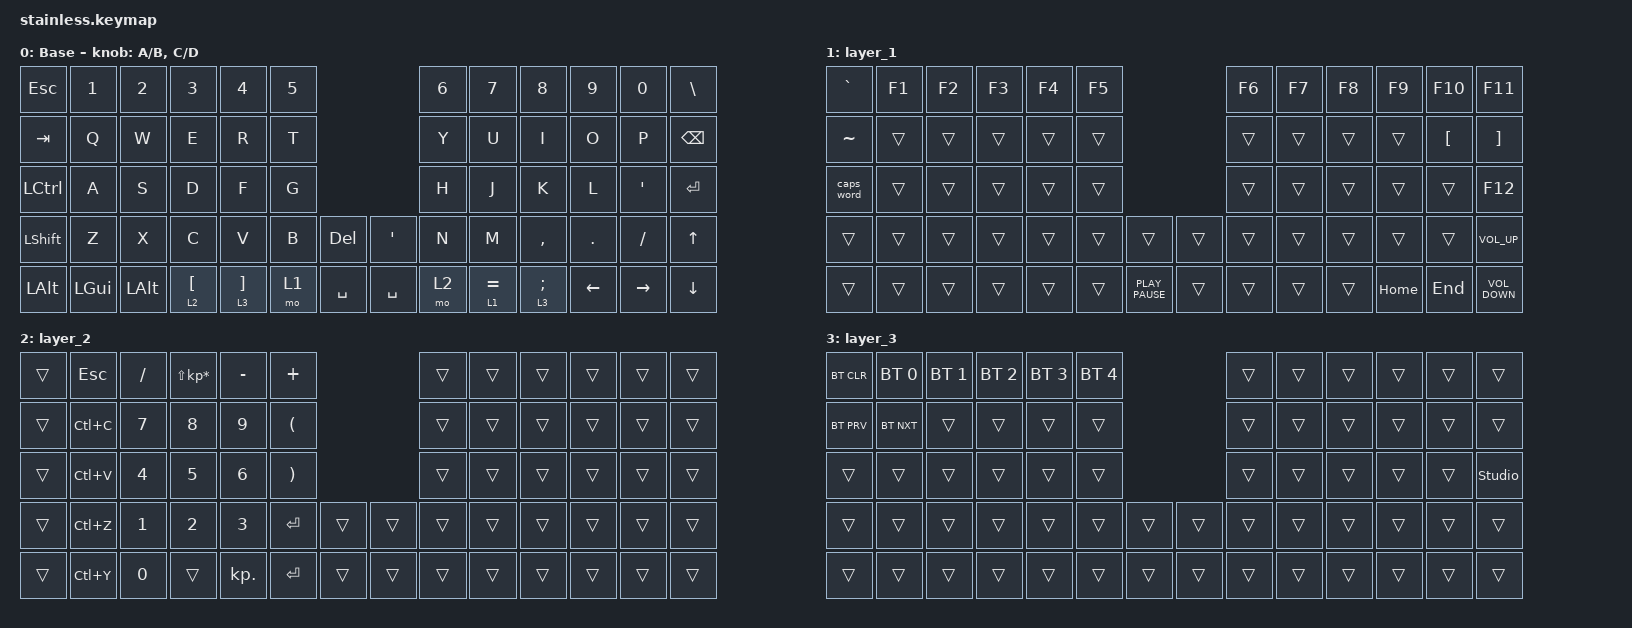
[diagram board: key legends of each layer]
#include <behaviors.dtsi>
#include <dt-bindings/zmk/bt.h>
#include <dt-bindings/zmk/keys.h>

/ {
    keymap {
        compatible = "zmk,keymap";

        default_layer {
            display-name = "Base";
            bindings = <
&kp ESC    &kp N1    &kp N2    &kp N3              &kp N4               &kp N5                                &kp N6  &kp N7       &kp N8           &kp N9    &kp N0     &kp BSLH
&kp TAB    &kp Q     &kp W     &kp E               &kp R                &kp T                                 &kp Y   &kp U        &kp I            &kp O     &kp P      &kp BSPC
&kp LCTRL  &kp A     &kp S     &kp D               &kp F                &kp G                                 &kp H   &kp J        &kp K            &kp L     &kp SQT    &kp RET
&kp LSHFT  &kp Z     &kp X     &kp C               &kp V                &kp B   &kp SPACE   &kp SINGLE_QUOTE  &kp N   &kp M        &kp COMMA        &kp DOT   &kp FSLH   &kp UP
&kp LALT   &kp LGUI  &kp LALT  &lt 2 LEFT_BRACKET  &lt 3 RIGHT_BRACKET  &mo 1   &kp DELETE  &kp SPACE         &mo 2   &lt 1 EQUAL  &lt 3 SEMICOLON  &kp LEFT  &kp RIGHT  &kp DOWN
            >;

            sensor-bindings = <&inc_dec_kp A B &inc_dec_kp C D>;
        };

        layer_1 {
            bindings = <
&kp GRAVE   &kp F1  &kp F2  &kp F3  &kp F4  &kp F5                            &kp F6  &kp F7  &kp F8  &kp F9    &kp F10           &kp F11
&kp TILDE   &trans  &trans  &trans  &trans  &trans                            &trans  &trans  &trans  &trans    &kp LEFT_BRACKET  &kp RIGHT_BRACKET
&caps_word  &trans  &trans  &trans  &trans  &trans                            &trans  &trans  &trans  &trans    &trans            &kp F12
&trans      &trans  &trans  &trans  &trans  &trans  &kp K_PLAY_PAUSE  &trans  &trans  &trans  &trans  &trans    &trans            &kp K_VOLUME_UP
&trans      &trans  &trans  &trans  &trans  &trans  &trans            &trans  &trans  &trans  &trans  &kp HOME  &kp END           &kp K_VOLUME_DOWN
            >;
        };

        layer_2 {
            bindings = <
&trans  &kp ESC    &kp FSLH  &kp LS(KP_MULTIPLY)  &kp MINUS   &kp PLUS                  &trans  &trans  &trans  &trans  &trans  &trans
&trans  &kp LC(C)  &kp N7    &kp N8               &kp N9      &kp LPAR                  &trans  &trans  &trans  &trans  &trans  &trans
&trans  &kp LC(V)  &kp N4    &kp N5               &kp N6      &kp RPAR                  &trans  &trans  &trans  &trans  &trans  &trans
&trans  &kp LC(Z)  &kp N1    &kp N2               &kp N3      &kp RET   &trans  &trans  &trans  &trans  &trans  &trans  &trans  &trans
&trans  &kp LC(Y)  &kp N0    &trans               &kp KP_DOT  &kp RET   &trans  &trans  &trans  &trans  &trans  &trans  &trans  &trans
            >;
        };

        layer_3 {
            bindings = <
&bt BT_CLR  &bt BT_SEL 0  &bt BT_SEL 1  &bt BT_SEL 2  &bt BT_SEL 3  &bt BT_SEL 4                  &trans  &trans  &trans  &trans  &trans  &trans
&bt BT_PRV  &bt BT_NXT    &trans        &trans        &trans        &trans                        &trans  &trans  &trans  &trans  &trans  &trans
&trans      &trans        &trans        &trans        &trans        &trans                        &trans  &trans  &trans  &trans  &trans  &studio_unlock
&trans      &trans        &trans        &trans        &trans        &trans        &trans  &trans  &trans  &trans  &trans  &trans  &trans  &trans
&trans      &trans        &trans        &trans        &trans        &trans        &trans  &trans  &trans  &trans  &trans  &trans  &trans  &trans
            >;
        };
    };
};
